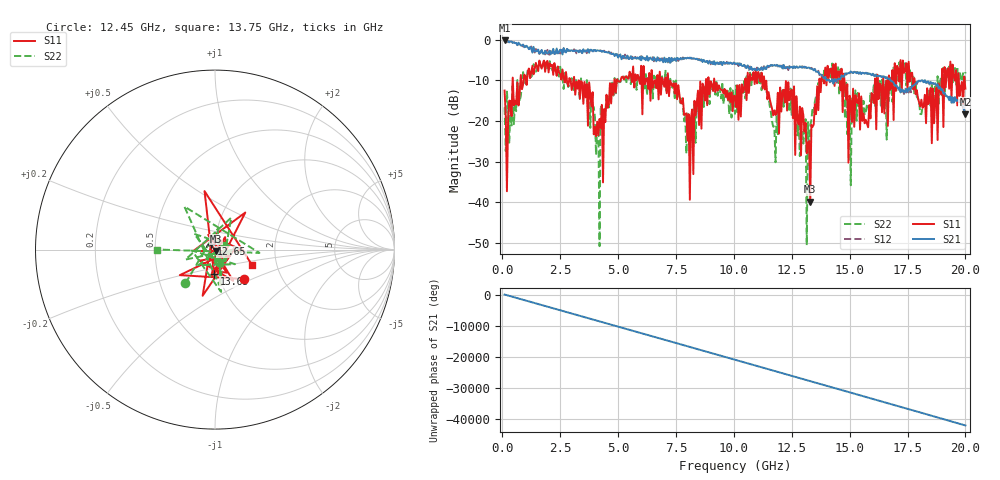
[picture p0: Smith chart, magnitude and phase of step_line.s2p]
#  HZ  S  RI  R  1.00
! Rohde & Schwarz ZVA67 4Ports - Version 4.11 - 1305.7002k04 SN: 101032
! Date: 2023-06-01 17:08:02
! Measurements: S11 S21 S12 S22
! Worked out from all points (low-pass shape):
!   399 points, 100 MHz to 20 GHz, reference 1 ohm
!   highest |S21| = -0.23 dB at 100 MHz (marker M1); lowest = -18.4 dB at 20 GHz (marker M2)
!   |S21| within 3 dB of the highest: start of sweep to 1.59 GHz; 3.751 GHz to 4.651 GHz (899.7 MHz wide, 21.4 % of centre) (the widest 2 of 10)
!   lowest |S11| = -39.8 dB at 13.3 GHz (marker M3), VSWR 1.02, Z = 1.01 - j0.0155 ohm
!   |S11| at or under -10 dB: 3.11 GHz to 4.846 GHz (1.737 GHz wide, 43.7 % of centre); 7.165 GHz to 8.797 GHz (1.632 GHz wide, 20.4 % of centre); 11.31 GHz to 13.7 GHz (2.382 GHz wide, 19.1 % of centre) (the widest 3 of 62)
!   |S22| runs from -50.7 to -4.9 dB; largest |S21 - S12| = 1.9
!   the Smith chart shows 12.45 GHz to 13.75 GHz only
!   S11 on the Smith chart (normalised r, x): 12.45 GHz: 1.29, -0.45; 12.65 GHz: 0.95, +0.06; 13.65 GHz: 0.95, -0.26; 13.75 GHz: 1.49, -0.28
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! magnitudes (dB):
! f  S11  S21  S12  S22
! 100 MHz  -12.5  -0.2  -0.2  -16.7
! 200 MHz  -37.3  -0.3  -0.6  -12.8
! 450 MHz  -9.3  -0.8  -0.8  -10.7
! 3.45 GHz  -10.5  -3.3  -3.3  -10.9
! 4.15 GHz  -23.5  -2.7  -2.6  -21.8
! 4.2 GHz  -19.5  -2.7  -2.7  -50.7
! 4.25 GHz  -21.7  -2.7  -2.7  -16.2
! 6.75 GHz  -14.7  -5.0  -4.5  -11.3
! 8.1 GHz  -39.3  -4.6  -4.4  -28.4
! 8.55 GHz  -10.3  -5.0  -5.1  -13.8
! 10.05 GHz  -13.9  -5.8  -6.1  -18.2
! 12.45 GHz  -12.8  -6.8  -6.7  -12.0
! 12.65 GHz  -28.3  -6.9  -7.0  -17.2
! 13.1 GHz  -20.4  -6.8  -6.8  -19.6
! 13.15 GHz  -27.9  -7.0  -6.7  -50.5
! 13.3 GHz  -39.8  -7.1  -7.1  -21.0
! 13.4 GHz  -21.4  -7.2  -7.3  -16.7
! 13.65 GHz  -17.3  -8.0  -7.7  -10.6
! 13.75 GHz  -12.9  -8.6  -8.6  -9.8
! 15.05 GHz  -15.2  -7.9  -8.0  -35.8
! 16.7 GHz  -8.8  -9.6  -9.8  -15.0
! 20 GHz  -12.1  -18.4  -18.3  -8.0
